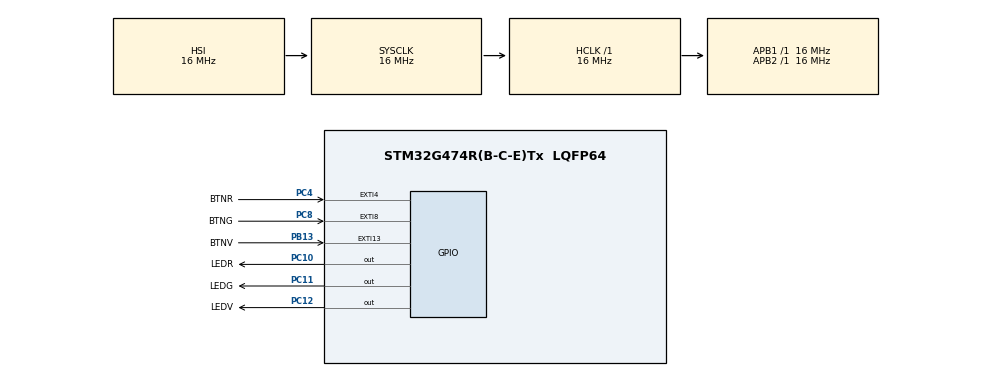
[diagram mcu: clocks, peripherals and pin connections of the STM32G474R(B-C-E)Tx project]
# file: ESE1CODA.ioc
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Mcu.Family=STM32G4
Mcu.Name=STM32G474R(B-C-E)Tx
Mcu.Package=LQFP64
NVIC.EXTI15_10_IRQn=true\:0\:0\:false\:false\:true\:true\:true\:true
NVIC.EXTI4_IRQn=true\:0\:0\:false\:false\:true\:true\:true\:true
NVIC.EXTI9_5_IRQn=true\:0\:0\:false\:false\:true\:true\:true\:true
NVIC.PriorityGroup=NVIC_PRIORITYGROUP_4
PB13.GPIO_Label=BTNV
PB13.Signal=GPXTI13
PC10.GPIO_Label=LEDR
PC10.Signal=GPIO_Output
PC11.GPIO_Label=LEDG
PC11.Signal=GPIO_Output
PC12.GPIO_Label=LEDV
PC12.Signal=GPIO_Output
PC4.GPIO_Label=BTNR
PC4.Signal=GPXTI4
PC8.GPIO_Label=BTNG
PC8.Signal=GPXTI8
ProjectManager.HeapSize=0x200
ProjectManager.StackSize=0x400
ProjectManager.TargetToolchain=STM32CubeIDE
RCC.AHBFreq_Value=16000000
RCC.APB1Freq_Value=16000000
RCC.APB1TimFreq_Value=16000000
RCC.APB2Freq_Value=16000000
RCC.APB2TimFreq_Value=16000000
RCC.CortexFreq_Value=16000000
RCC.EXTERNAL_CLOCK_VALUE=12288000
RCC.HCLKFreq_Value=16000000
RCC.HSE_VALUE=8000000
RCC.HSI48_VALUE=48000000
RCC.HSI_VALUE=16000000
RCC.LSE_VALUE=32768
RCC.SYSCLKFreq_VALUE=16000000
RCC.USBFreq_Value=64000000
RCC.VCOOutputFreq_Value=128000000
VP_SYS_VS_DBSignals.Mode=DisableDeadBatterySignals
board=custom

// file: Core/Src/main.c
/* USER CODE BEGIN Header */
/**
  ******************************************************************************
  * @file           : main.c
  * @brief          : Main program body
  ******************************************************************************
  * @attention
  *
  * Copyright (c) 2026 STMicroelectronics.
  * All rights reserved.
  *
  * This software is licensed under terms that can be found in the LICENSE file
  * in the root directory of this software component.
  * If no LICENSE file comes with this software, it is provided AS-IS.
  *
  ******************************************************************************
  */
/* USER CODE END Header */
#include "main.h"
#include "gpio.h"

/* USER CODE BEGIN Includes */
#include "queue.h"
/* USER CODE END Includes */

/* USER CODE BEGIN PD */
#define MAX_QUEUE_ITEMS 10 //numero massimo di elementi nella coda
/* USER CODE END PD */

/* USER CODE BEGIN PV */
queue_t my_queue; //oggetto coda
uint8_t queue_storage[MAX_QUEUE_ITEMS * sizeof(uint8_t)]; //buffer con allocati i byte massimi che contiene la coda
uint32_t current_time=0;
uint32_t last_occurance=0;
/* USER CODE END PV */

void SystemClock_Config(void);

int main(void)
{

  /* MCU Configuration--------------------------------------------------------*/

  /* Reset of all peripherals, Initializes the Flash interface and the Systick. */
  HAL_Init();

  /* Configure the system clock */
  SystemClock_Config();

  /* Initialize all configured peripherals */
  MX_GPIO_Init();
  /* USER CODE BEGIN 2 */
  //queue_init(queue_t* queue, uint8_t* queue_buffer, uint16_t items_size, uint16_t queue_size)
  if(queue_init(&my_queue, queue_storage, sizeof(uint8_t),MAX_QUEUE_ITEMS)!=QUEUE_OK){
	  //se la coda non è stata inizializzata bene
	  Error_Handler();
  }
  HAL_GPIO_WritePin(GPIOC, LEDR_Pin|LEDG_Pin|LEDV_Pin, GPIO_PIN_RESET);
  //all avvio tutti i led spenti

  /* USER CODE END 2 */

  /* Infinite loop */
  /* USER CODE BEGIN WHILE */
  while (1)
  {
	  //faccio il controllo ogni secondo
	  current_time=HAL_GetTick();
	  //aggiorno current time
	  if(current_time - last_occurance>= 5000){
		  //verifico che il current time sia inferiore all'ultimo aggiornamento di 5 sec
		  //aggiorno l'ultimo aggiornamento
		  last_occurance= current_time;
		  uint8_t led_request_extracted;
		  if(queue_extract(&my_queue,&led_request_extracted) == QUEUE_OK){
			  	HAL_GPIO_WritePin(GPIOC, LEDR_Pin|LEDG_Pin|LEDV_Pin, GPIO_PIN_RESET);
				switch (led_request_extracted) {
				case (1):
					HAL_GPIO_WritePin(GPIOC, LEDR_Pin, GPIO_PIN_SET);
					break;
				case (2):
					HAL_GPIO_WritePin(GPIOC, LEDG_Pin, GPIO_PIN_SET);
					break;
				case (3):
					HAL_GPIO_WritePin(GPIOC, LEDV_Pin, GPIO_PIN_SET);
					break;

				}

		  }

	  }
    /* USER CODE END WHILE */

  }
}

void SystemClock_Config(void)
{
  RCC_OscInitTypeDef RCC_OscInitStruct = {0};
  RCC_ClkInitTypeDef RCC_ClkInitStruct = {0};

  /** Configure the main internal regulator output voltage
  */
  HAL_PWREx_ControlVoltageScaling(PWR_REGULATOR_VOLTAGE_SCALE1);

  /** Initializes the RCC Oscillators according to the specified parameters
  * in the RCC_OscInitTypeDef structure.
  */
  RCC_OscInitStruct.OscillatorType = RCC_OSCILLATORTYPE_HSI;
  RCC_OscInitStruct.HSIState = RCC_HSI_ON;
  RCC_OscInitStruct.HSICalibrationValue = RCC_HSICALIBRATION_DEFAULT;
  RCC_OscInitStruct.PLL.PLLState = RCC_PLL_NONE;
  if (HAL_RCC_OscConfig(&RCC_OscInitStruct) != HAL_OK)
  {
    Error_Handler();
  }

  /** Initializes the CPU, AHB and APB buses clocks
  */
  RCC_ClkInitStruct.ClockType = RCC_CLOCKTYPE_HCLK|RCC_CLOCKTYPE_SYSCLK
                              |RCC_CLOCKTYPE_PCLK1|RCC_CLOCKTYPE_PCLK2;
  RCC_ClkInitStruct.SYSCLKSource = RCC_SYSCLKSOURCE_HSI;
  RCC_ClkInitStruct.AHBCLKDivider = RCC_SYSCLK_DIV1;
  RCC_ClkInitStruct.APB1CLKDivider = RCC_HCLK_DIV1;
  RCC_ClkInitStruct.APB2CLKDivider = RCC_HCLK_DIV1;

  if (HAL_RCC_ClockConfig(&RCC_ClkInitStruct, FLASH_LATENCY_0) != HAL_OK)
  {
    Error_Handler();
  }
}

void Error_Handler(void)
{
  __disable_irq();
  while (1)
  {
  }
}
